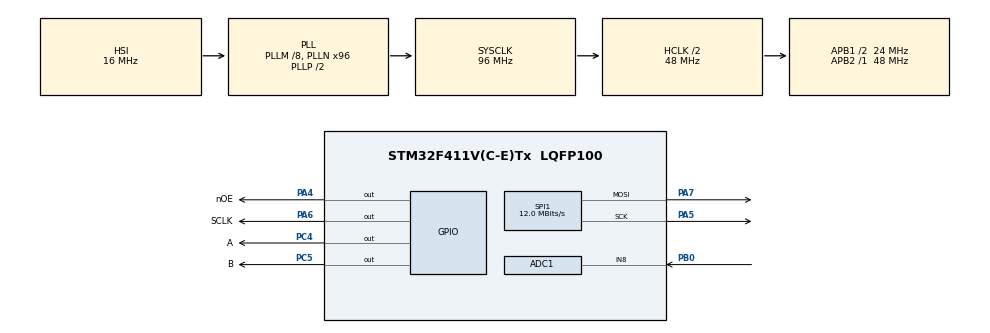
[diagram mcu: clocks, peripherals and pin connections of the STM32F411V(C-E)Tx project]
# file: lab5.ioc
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ADC1.Channel-4\#ChannelRegularConversion=ADC_CHANNEL_8
ADC1.NbrOfConversionFlag=1
ADC1.Rank-4\#ChannelRegularConversion=1
ADC1.SamplingTime-4\#ChannelRegularConversion=ADC_SAMPLETIME_3CYCLES
ADC1.master=1
Mcu.Family=STM32F4
Mcu.Name=STM32F411V(C-E)Tx
Mcu.Package=LQFP100
NVIC.PriorityGroup=NVIC_PRIORITYGROUP_4
NVIC.TIM1_UP_TIM10_IRQn=true\:0\:0\:false\:false\:true\:true\:true\:true
NVIC.TIM2_IRQn=true\:0\:0\:false\:false\:true\:true\:true\:true
NVIC.TIM3_IRQn=true\:0\:0\:false\:false\:true\:true\:true\:true
PA13.Mode=Serial_Wire
PA13.Signal=SYS_JTMS-SWDIO
PA14.Mode=Serial_Wire
PA14.Signal=SYS_JTCK-SWCLK
PA4.GPIO_Label=nOE
PA4.Signal=GPIO_Output
PA5.Mode=TX_Only_Simplex_Unidirect_Master
PA5.Signal=SPI1_SCK
PA6.GPIO_Label=SCLK
PA6.Signal=GPIO_Output
PA7.Mode=TX_Only_Simplex_Unidirect_Master
PA7.Signal=SPI1_MOSI
PB0.Signal=ADCx_IN8
PC4.GPIO_Label=A
PC4.Signal=GPIO_Output
PC5.GPIO_Label=B
PC5.Signal=GPIO_Output
PH0\ -\ OSC_IN.Mode=HSE-External-Oscillator
PH0\ -\ OSC_IN.Signal=RCC_OSC_IN
PH1\ -\ OSC_OUT.Mode=HSE-External-Oscillator
PH1\ -\ OSC_OUT.Signal=RCC_OSC_OUT
ProjectManager.HeapSize=0x200
ProjectManager.StackSize=0x400
ProjectManager.TargetToolchain=STM32CubeIDE
RCC.48MHZClocksFreq_Value=48000000
RCC.AHBCLKDivider=RCC_SYSCLK_DIV2
RCC.AHBFreq_Value=48000000
RCC.APB1CLKDivider=RCC_HCLK_DIV2
RCC.APB1Freq_Value=24000000
RCC.APB1TimFreq_Value=48000000
RCC.APB2Freq_Value=48000000
RCC.APB2TimFreq_Value=48000000
RCC.CortexFreq_Value=48000000
RCC.HCLKFreq_Value=48000000
RCC.HSE_VALUE=25000000
RCC.HSI_VALUE=16000000
RCC.LSE_VALUE=32768
RCC.PLLM=8
RCC.PLLN=96
RCC.SYSCLKFreq_VALUE=96000000
RCC.SYSCLKSource=RCC_SYSCLKSOURCE_PLLCLK
RCC.VCOOutputFreq_Value=192000000
SH.ADCx_IN8.0=ADC1_IN8,IN8
SPI1.BaudRatePrescaler=SPI_BAUDRATEPRESCALER_4
SPI1.CalculateBaudRate=12.0 MBits/s
SPI1.Direction=SPI_DIRECTION_2LINES
SPI1.Mode=SPI_MODE_MASTER
SPI1.VirtualType=VM_MASTER
TIM1.Channel-Output\ Compare1\ No\ Output=TIM_CHANNEL_1
TIM1.Period=9600-1
TIM1.Prescaler=1000-1
TIM2.Channel-Output\ Compare1\ No\ Output=TIM_CHANNEL_1
TIM2.Period=1600-1
TIM2.Prescaler=1000-1
TIM3.Channel-Output\ Compare1\ No\ Output=TIM_CHANNEL_1
TIM3.Period=4000-1
TIM3.Prescaler=6-1
VP_TIM1_VS_no_output1.Mode=Output Compare1 No Output
VP_TIM2_VS_no_output1.Mode=Output Compare1 No Output
VP_TIM3_VS_no_output1.Mode=Output Compare1 No Output
board=custom

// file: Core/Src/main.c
/* USER CODE BEGIN Header */
/**
  ******************************************************************************
  * @file           : main.c
  * @brief          : Main program body
  ******************************************************************************
  * @attention
  *
  * <h2><center>&copy; Copyright (c) 2022 STMicroelectronics.
  * All rights reserved.</center></h2>
  *
  * This software component is licensed by ST under BSD 3-Clause license,
  * the "License"; You may not use this file except in compliance with the
  * License. You may obtain a copy of the License at:
  *                        opensource.org/licenses/BSD-3-Clause
  *
  ******************************************************************************
  */
/* USER CODE END Header */
#include "main.h"
#include "adc.h"
#include "spi.h"
#include "tim.h"
#include "gpio.h"

/* USER CODE BEGIN Includes */
#include "disp1color.h"
#include "font.h"
#include <locale.h>
#include "median.h"
#include "FlappyBird.h"
/* USER CODE END Includes */

/* USER CODE BEGIN PM */
#define f6x8_MONO_WIDTH         6
/* USER CODE END PM */

/* USER CODE BEGIN PV */
int16_t X = 32;
uint16_t Period = 70;
uint16_t TickNum = 1; //150
extern uint8_t data1[16], data2[16], data3[16], data4[16];
uint8_t x0_bird = 4;
volatile uint8_t y0_bird;
uint8_t State;

volatile int8_t rectangle_x1;
volatile uint8_t rectangle_y1;
volatile int8_t rectangle_x2;
volatile uint8_t rectangle_y2;
int rectangle_y1_array[11] = {4, 8, 6, 0, 10, 2, 5, 7, 3, 1, 9};
int rectangle_y2_array[11] = {9, 13, 11, 5, 15, 7, 10, 12, 8, 6, 14};

median_filter_t median_filter_MIC;
FlappyBird_t FlappyBird;
uint16_t MIC_median_filter;
volatile int16_t adc_reg_value;
volatile int16_t volume;

uint8_t lose;
/* USER CODE END PV */

void SystemClock_Config(void);

/* USER CODE BEGIN 0 */
void disp_row(int row);
void draw_game(int8_t rectangle_x1,int8_t rectangle_x2, uint8_t rectangle_y1, uint8_t rectangle_y2);
void Flappy_Bird(int16_t x0, int16_t y0, uint8_t State);
void game_over(char *pMyStr);
/* USER CODE END 0 */

int main(void)
{
  /* USER CODE BEGIN 1 */
	rectangle_x1 = 31;
	rectangle_x2 = 35;
  /* USER CODE END 1 */

  /* MCU Configuration--------------------------------------------------------*/

  /* Reset of all peripherals, Initializes the Flash interface and the Systick. */
  HAL_Init();

  /* Configure the system clock */
  SystemClock_Config();

  /* Initialize all configured peripherals */
  MX_GPIO_Init();
  MX_SPI1_Init();
  MX_TIM1_Init();
  MX_TIM2_Init();
  MX_ADC1_Init();
  MX_TIM3_Init();
  /* USER CODE BEGIN 2 */
	HAL_TIM_Base_Start_IT(&htim1);
	HAL_TIM_Base_Start_IT(&htim2);
	HAL_TIM_Base_Start_IT(&htim3);

	median_filter_init(&median_filter_MIC);
	FlappyBird_init(&FlappyBird);

	HAL_GPIO_WritePin(nOE_GPIO_Port, nOE_Pin, GPIO_PIN_RESET);
	char *pMyStr = "GAME OVER, Press Reset to continue";  // string for input
  /* USER CODE END 2 */

  /* Infinite loop */
  while (1)
  {

    /* USER CODE BEGIN 3 */
		State = 1;
		if ((x0_bird == rectangle_x1 && y0_bird <= rectangle_y1)
				|| (x0_bird == rectangle_x1 && y0_bird >= rectangle_y2) || lose == 1) {
			game_over(pMyStr);
			lose = 1;
		} else {
			Flappy_Bird(x0_bird, y0_bird, State);
			draw_game(rectangle_x1, rectangle_x2, rectangle_y1, rectangle_y2);
	  	  }
  }
  /* USER CODE END 3 */
}

void SystemClock_Config(void)
{
  RCC_OscInitTypeDef RCC_OscInitStruct = {0};
  RCC_ClkInitTypeDef RCC_ClkInitStruct = {0};

  /** Configure the main internal regulator output voltage
  */
  __HAL_RCC_PWR_CLK_ENABLE();
  __HAL_PWR_VOLTAGESCALING_CONFIG(PWR_REGULATOR_VOLTAGE_SCALE1);

  /** Initializes the RCC Oscillators according to the specified parameters
  * in the RCC_OscInitTypeDef structure.
  */
  RCC_OscInitStruct.OscillatorType = RCC_OSCILLATORTYPE_HSI;
  RCC_OscInitStruct.HSIState = RCC_HSI_ON;
  RCC_OscInitStruct.HSICalibrationValue = RCC_HSICALIBRATION_DEFAULT;
  RCC_OscInitStruct.PLL.PLLState = RCC_PLL_ON;
  RCC_OscInitStruct.PLL.PLLSource = RCC_PLLSOURCE_HSI;
  RCC_OscInitStruct.PLL.PLLM = 8;
  RCC_OscInitStruct.PLL.PLLN = 96;
  RCC_OscInitStruct.PLL.PLLP = RCC_PLLP_DIV2;
  RCC_OscInitStruct.PLL.PLLQ = 4;
  if (HAL_RCC_OscConfig(&RCC_OscInitStruct) != HAL_OK)
  {
    Error_Handler();
  }

  /** Initializes the CPU, AHB and APB buses clocks
  */
  RCC_ClkInitStruct.ClockType = RCC_CLOCKTYPE_HCLK|RCC_CLOCKTYPE_SYSCLK
                              |RCC_CLOCKTYPE_PCLK1|RCC_CLOCKTYPE_PCLK2;
  RCC_ClkInitStruct.SYSCLKSource = RCC_SYSCLKSOURCE_PLLCLK;
  RCC_ClkInitStruct.AHBCLKDivider = RCC_SYSCLK_DIV2;
  RCC_ClkInitStruct.APB1CLKDivider = RCC_HCLK_DIV2;
  RCC_ClkInitStruct.APB2CLKDivider = RCC_HCLK_DIV1;

  if (HAL_RCC_ClockConfig(&RCC_ClkInitStruct, FLASH_LATENCY_1) != HAL_OK)
  {
    Error_Handler();
  }
}

/* USER CODE BEGIN 4 */

void disp_row(int row){

	  if (row == 0){

		  for(uint8_t i=0; i<6; i++){
		  		HAL_SPI_Transmit(&hspi1, &data1, 16, 10);
		  }

		  HAL_GPIO_WritePin(SCLK_GPIO_Port, SCLK_Pin, GPIO_PIN_RESET);
		  HAL_GPIO_WritePin(SCLK_GPIO_Port, SCLK_Pin, GPIO_PIN_SET);

		  HAL_GPIO_WritePin(A_GPIO_Port, A_Pin, GPIO_PIN_RESET);
		  HAL_GPIO_WritePin(B_GPIO_Port, B_Pin, GPIO_PIN_RESET);
	  }
	  if (row == 1){

		  for(uint8_t i=0; i<6; i++){
		  		HAL_SPI_Transmit(&hspi1, &data2, 16, 10);
		  }

		  HAL_GPIO_WritePin(SCLK_GPIO_Port, SCLK_Pin, GPIO_PIN_RESET);
		  HAL_GPIO_WritePin(SCLK_GPIO_Port, SCLK_Pin, GPIO_PIN_SET);

		  HAL_GPIO_WritePin(A_GPIO_Port, A_Pin, GPIO_PIN_SET);
		  HAL_GPIO_WritePin(B_GPIO_Port, B_Pin, GPIO_PIN_RESET);
	  }

	  if (row == 2){

		  for(uint8_t i=0; i<6; i++){
		  		HAL_SPI_Transmit(&hspi1, &data3, 16, 10);
		  }

		  HAL_GPIO_WritePin(SCLK_GPIO_Port, SCLK_Pin, GPIO_PIN_RESET);
		  HAL_GPIO_WritePin(SCLK_GPIO_Port, SCLK_Pin, GPIO_PIN_SET);

		  HAL_GPIO_WritePin(A_GPIO_Port, A_Pin, GPIO_PIN_RESET);
		  HAL_GPIO_WritePin(B_GPIO_Port, B_Pin, GPIO_PIN_SET);
	  }

	  if (row == 3){

		  for(uint8_t i=0; i<6; i++){
		  		HAL_SPI_Transmit(&hspi1, &data4, 16, 10);
		  }

		  HAL_GPIO_WritePin(SCLK_GPIO_Port, SCLK_Pin, GPIO_PIN_RESET);
		  HAL_GPIO_WritePin(SCLK_GPIO_Port, SCLK_Pin, GPIO_PIN_SET);

		  HAL_GPIO_WritePin(A_GPIO_Port, A_Pin, GPIO_PIN_SET);
		  HAL_GPIO_WritePin(B_GPIO_Port, B_Pin, GPIO_PIN_SET);
	  }

	  HAL_GPIO_WritePin(nOE_GPIO_Port, nOE_Pin, GPIO_PIN_SET);
		  for(uint32_t x=0; x<=500; x++) {};
	 HAL_GPIO_WritePin(nOE_GPIO_Port, nOE_Pin, GPIO_PIN_RESET);
  }

void draw_game(int8_t rectangle_x1, int8_t rectangle_x2, uint8_t rectangle_y1, uint8_t rectangle_y2) {
	disp1color_DrawLine(0, 0, 32, 0);
	disp1color_DrawLine(0, 15, 32, 15);
	disp1color_DrawRectangle(rectangle_x1, 0, rectangle_x2, rectangle_y1);
	disp1color_DrawRectangle(rectangle_x1, rectangle_y2, rectangle_x2, 15);

	disp1color_UpdateFromBuff(); // converting calculated data into an array
	prepare_data(); // splitting the array into arrays for each row

	// Switching-on the matrix, row by row
	for (uint8_t i = 0; i < 20; i++) {
		disp_row(0);
		disp_row(1);
		disp_row(2);
		disp_row(3);
	}
}

void Flappy_Bird(int16_t x0, int16_t y0, uint8_t State) {
	disp1color_DrawPixel(x0, y0, State);
	disp1color_DrawPixel((x0 + 1), y0, State);
	disp1color_DrawPixel((x0 + 2), y0, State);
	disp1color_DrawPixel(x0, (y0 - 1), State);
	disp1color_DrawPixel((x0 + 1), (y0 - 1), State);
}

void game_over(char *pMyStr) {
	uint16_t strSize = strlen(pMyStr);
	uint8_t symbolDelay = 0;
	disp1color_FillScreenbuff(0);
	for (int16_t x = 32; x > -((strSize + symbolDelay) * f6x8_MONO_WIDTH);
			x--) {

		disp1color_printf(x, 4, FONTID_6X8M, pMyStr); // calculation of data for output

		disp1color_UpdateFromBuff(); // converting calculated data into an array
		prepare_data();// splitting the array into arrays for each row

		// Switching-on the matrix, row by row
		for (uint8_t i = 0; i < 20; i++) {
			disp_row(0);
			disp_row(1);
			disp_row(2);
			disp_row(3);
		}
	}
}
/* USER CODE END 4 */

void Error_Handler(void)
{
  __disable_irq();
  while (1)
  {
  }
}
